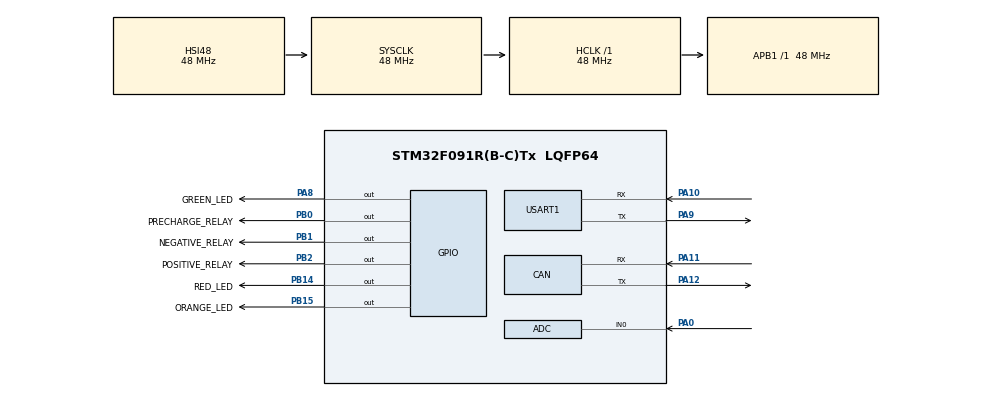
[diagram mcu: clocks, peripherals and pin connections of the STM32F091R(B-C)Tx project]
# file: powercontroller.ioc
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ADC.ClockPrescaler=ADC_CLOCK_SYNC_PCLK_DIV4
ADC.ContinuousConvMode=ENABLE
ADC.SamplingTime=ADC_SAMPLETIME_13CYCLES_5
CAN.BS1=CAN_BS1_1TQ
CAN.BS2=CAN_BS2_1TQ
CAN.CalculateTimeBit=1000
CAN.CalculateTimeQuantum=333.3333333333333
Mcu.Family=STM32F0
Mcu.Name=STM32F091R(B-C)Tx
Mcu.Package=LQFP64
NVIC.ADC1_COMP_IRQn=true\:0\:0\:false\:false\:true\:true
PA0.Mode=IN0
PA0.Signal=ADC_IN0
PA10.Mode=Asynchronous
PA10.Signal=USART1_RX
PA11.Mode=Master
PA11.Signal=CAN_RX
PA12.Mode=Master
PA12.Signal=CAN_TX
PA13.Mode=Serial_Wire
PA13.Signal=SYS_SWDIO
PA14.Mode=Serial_Wire
PA14.Signal=SYS_SWCLK
PA8.GPIO_Label=GREEN_LED
PA8.Signal=GPIO_Output
PA9.Mode=Asynchronous
PA9.Signal=USART1_TX
PB0.GPIO_Label=PRECHARGE_RELAY
PB0.Signal=GPIO_Output
PB1.GPIO_Label=NEGATIVE_RELAY
PB1.Signal=GPIO_Output
PB14.GPIO_Label=RED_LED
PB14.Signal=GPIO_Output
PB15.GPIO_Label=ORANGE_LED
PB15.Signal=GPIO_Output
PB2.GPIO_Label=POSITIVE_RELAY
PB2.Signal=GPIO_Output
ProjectManager.HeapSize=0x200
ProjectManager.StackSize=0x400
ProjectManager.TargetToolchain=SW4STM32
RCC.AHBFreq_Value=48000000
RCC.APB1Freq_Value=48000000
RCC.APB1TimFreq_Value=48000000
RCC.HCLKFreq_Value=48000000
RCC.PLLDivider=RCC_PREDIV_DIV2
RCC.PLLSourceVirtual=RCC_PLLSOURCE_HSI48
RCC.SYSCLKFreq_VALUE=48000000
RCC.SYSCLKSource=RCC_SYSCLKSOURCE_HSI48
USART1.VirtualMode-Asynchronous=VM_ASYNC
USART1.WordLength=WORDLENGTH_8B
board=powercontroller

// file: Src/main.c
/**
  ******************************************************************************
  * @file           : main.c
  * @brief          : Main program body
  ******************************************************************************
  ** This notice applies to any and all portions of this file
  * that are not between comment pairs USER CODE BEGIN and
  * USER CODE END. Other portions of this file, whether
  * inserted by the user or by software development tools
  * are owned by their respective copyright owners.
  *
  * COPYRIGHT(c) 2018 STMicroelectronics
  *
  * Redistribution and use in source and binary forms, with or without modification,
  * are permitted provided that the following conditions are met:
  *   1. Redistributions of source code must retain the above copyright notice,
  *      this list of conditions and the following disclaimer.
  *   2. Redistributions in binary form must reproduce the above copyright notice,
  *      this list of conditions and the following disclaimer in the documentation
  *      and/or other materials provided with the distribution.
  *   3. Neither the name of STMicroelectronics nor the names of its contributors
  *      may be used to endorse or promote products derived from this software
  *      without specific prior written permission.
  *
  * THIS SOFTWARE IS PROVIDED BY THE COPYRIGHT HOLDERS AND CONTRIBUTORS "AS IS"
  * AND ANY EXPRESS OR IMPLIED WARRANTIES, INCLUDING, BUT NOT LIMITED TO, THE
  * IMPLIED WARRANTIES OF MERCHANTABILITY AND FITNESS FOR A PARTICULAR PURPOSE ARE
  * DISCLAIMED. IN NO EVENT SHALL THE COPYRIGHT HOLDER OR CONTRIBUTORS BE LIABLE
  * FOR ANY DIRECT, INDIRECT, INCIDENTAL, SPECIAL, EXEMPLARY, OR CONSEQUENTIAL
  * DAMAGES (INCLUDING, BUT NOT LIMITED TO, PROCUREMENT OF SUBSTITUTE GOODS OR
  * SERVICES; LOSS OF USE, DATA, OR PROFITS; OR BUSINESS INTERRUPTION) HOWEVER
  * CAUSED AND ON ANY THEORY OF LIABILITY, WHETHER IN CONTRACT, STRICT LIABILITY,
  * OR TORT (INCLUDING NEGLIGENCE OR OTHERWISE) ARISING IN ANY WAY OUT OF THE USE
  * OF THIS SOFTWARE, EVEN IF ADVISED OF THE POSSIBILITY OF SUCH DAMAGE.
  *
  ******************************************************************************
  */
#include "main.h"
#include "stm32f0xx_hal.h"
#include "adc.h"
#include "can.h"
#include "usart.h"
#include "gpio.h"

/* USER CODE BEGIN Includes */

#include <stdint.h>
#include "printf.h"

/* USER CODE END Includes */

/* USER CODE BEGIN PV */
/* Private variables ---------------------------------------------------------*/

volatile uint16_t ADC_RAW = 0;
volatile float DCBUS_VOLTAGE = 0;

/* USER CODE END PV */

void SystemClock_Config(void);

/* USER CODE BEGIN PFP */
/* Private function prototypes -----------------------------------------------*/

void UART_putc(void* p, char c);
void PowerOn_Safe();

/* USER CODE END PFP */

int main(void)
{

  /* MCU Configuration----------------------------------------------------------*/

  /* Reset of all peripherals, Initializes the Flash interface and the Systick. */
  HAL_Init();

  /* Configure the system clock */
  SystemClock_Config();

  /* Initialize all configured peripherals */
  MX_GPIO_Init();
  MX_USART1_UART_Init();
  MX_CAN_Init();
  MX_ADC_Init();
  /* USER CODE BEGIN 2 */

  init_printf(NULL, UART_putc);

  HAL_ADC_Start_IT(&hadc);

  /* USER CODE END 2 */

  /* Infinite loop */
  /* USER CODE BEGIN WHILE */

  HAL_Delay(2000);

  PowerOn_Safe();

  while (1)
  {

  /* USER CODE END WHILE */

  /* USER CODE BEGIN 3 */

	  HAL_GPIO_TogglePin(GREEN_LED_GPIO_Port, GREEN_LED_Pin);
	  HAL_Delay(500);
  }
  /* USER CODE END 3 */

}

void SystemClock_Config(void)
{

  RCC_OscInitTypeDef RCC_OscInitStruct;
  RCC_ClkInitTypeDef RCC_ClkInitStruct;
  RCC_PeriphCLKInitTypeDef PeriphClkInit;

    /**Initializes the CPU, AHB and APB busses clocks
    */
  RCC_OscInitStruct.OscillatorType = RCC_OSCILLATORTYPE_HSI48;
  RCC_OscInitStruct.HSI48State = RCC_HSI48_ON;
  RCC_OscInitStruct.PLL.PLLState = RCC_PLL_NONE;
  if (HAL_RCC_OscConfig(&RCC_OscInitStruct) != HAL_OK)
  {
    _Error_Handler(__FILE__, __LINE__);
  }

    /**Initializes the CPU, AHB and APB busses clocks
    */
  RCC_ClkInitStruct.ClockType = RCC_CLOCKTYPE_HCLK|RCC_CLOCKTYPE_SYSCLK
                              |RCC_CLOCKTYPE_PCLK1;
  RCC_ClkInitStruct.SYSCLKSource = RCC_SYSCLKSOURCE_HSI48;
  RCC_ClkInitStruct.AHBCLKDivider = RCC_SYSCLK_DIV1;
  RCC_ClkInitStruct.APB1CLKDivider = RCC_HCLK_DIV1;

  if (HAL_RCC_ClockConfig(&RCC_ClkInitStruct, FLASH_LATENCY_1) != HAL_OK)
  {
    _Error_Handler(__FILE__, __LINE__);
  }

  PeriphClkInit.PeriphClockSelection = RCC_PERIPHCLK_USART1;
  PeriphClkInit.Usart1ClockSelection = RCC_USART1CLKSOURCE_PCLK1;
  if (HAL_RCCEx_PeriphCLKConfig(&PeriphClkInit) != HAL_OK)
  {
    _Error_Handler(__FILE__, __LINE__);
  }

    /**Configure the Systick interrupt time
    */
  HAL_SYSTICK_Config(HAL_RCC_GetHCLKFreq()/1000);

    /**Configure the Systick
    */
  HAL_SYSTICK_CLKSourceConfig(SYSTICK_CLKSOURCE_HCLK);

  /* SysTick_IRQn interrupt configuration */
  HAL_NVIC_SetPriority(SysTick_IRQn, 0, 0);
}

/* USER CODE BEGIN 4 */

void PowerOn_Safe()
{
	uint16_t startTick = HAL_GetTick();
	HAL_GPIO_WritePin(ORANGE_LED_GPIO_Port, ORANGE_LED_Pin, GPIO_PIN_SET);
	HAL_GPIO_WritePin(NEGATIVE_RELAY_GPIO_Port, NEGATIVE_RELAY_Pin, GPIO_PIN_SET);
	HAL_Delay(RELAY_DELAY);
	HAL_GPIO_WritePin(PRECHARGE_RELAY_GPIO_Port, PRECHARGE_RELAY_Pin, GPIO_PIN_SET);
	HAL_Delay(RELAY_DELAY);

	while(DCBUS_VOLTAGE < NOMINAL_VOLTAGE - (NOMINAL_VOLTAGE * NOMINAL_VOLTAGE_TOLERANCE))
	{
		//Do nothing besides check the timeout
		if(HAL_GetTick() > startTick + PRECHARGE_TIMEOUT)
		{
			HAL_GPIO_WritePin(ORANGE_LED_GPIO_Port, ORANGE_LED_Pin, GPIO_PIN_RESET);
			HAL_GPIO_WritePin(RED_LED_GPIO_Port, RED_LED_Pin, GPIO_PIN_SET);
			printf("FAILED TO PRECHARGE IN SUITABLE TIME!");
			break;
		}
	}

	HAL_GPIO_WritePin(POSITIVE_RELAY_GPIO_Port, POSITIVE_RELAY_Pin, GPIO_PIN_SET);
	HAL_Delay(RELAY_DELAY);
	HAL_GPIO_WritePin(PRECHARGE_RELAY_GPIO_Port, PRECHARGE_RELAY_Pin, GPIO_PIN_RESET);
	HAL_GPIO_WritePin(ORANGE_LED_GPIO_Port, ORANGE_LED_Pin, GPIO_PIN_RESET);
	printf("Precharge done! DC Bus voltage: %dV\r\n", (uint8_t)DCBUS_VOLTAGE);
}

void HAL_ADC_ConvCpltCallback(ADC_HandleTypeDef* hadc)
{

	//Convert ADC reading into DC bus voltage
    ADC_RAW = (float)HAL_ADC_GetValue(hadc);
    DCBUS_VOLTAGE = (ADC_RAW * (3.3 / 4096.0)) / 0.04347826086956521739130434782609; // calculated from R2 / (R1 + R2)
}

void ADC_IRQHandler()
{
    HAL_ADC_IRQHandler(&hadc);
}

void UART_putc(void* p, char c)
{
	HAL_UART_Transmit(&huart1, &c, 1, 100);
}

/* USER CODE END 4 */

void _Error_Handler(char *file, int line)
{
  while(1)
  {
  }
}

/************************ (C) COPYRIGHT STMicroelectronics *****END OF FILE****/
